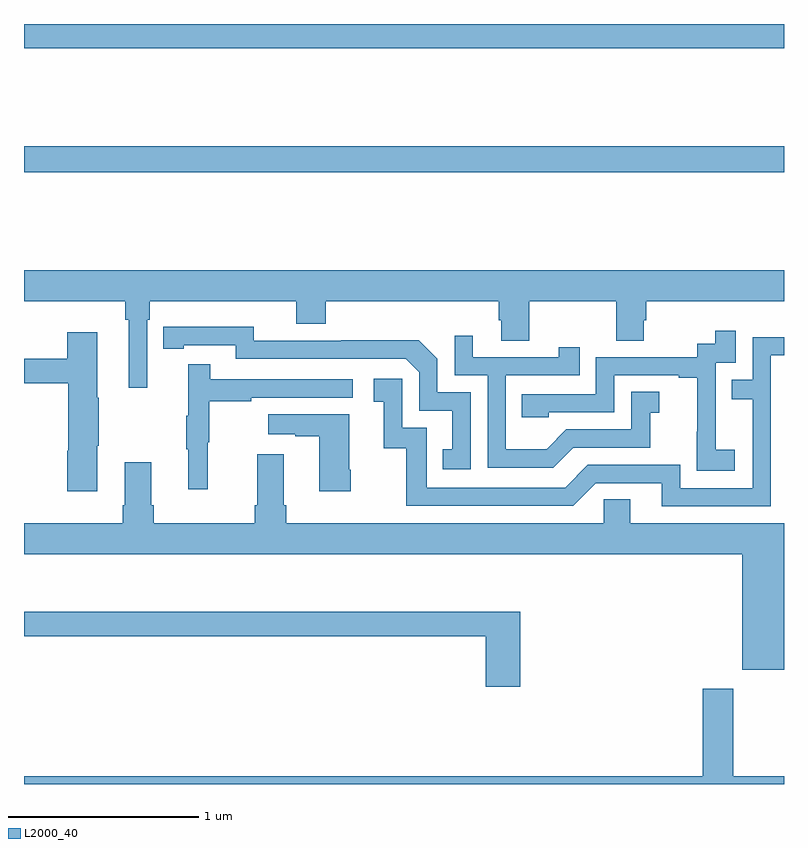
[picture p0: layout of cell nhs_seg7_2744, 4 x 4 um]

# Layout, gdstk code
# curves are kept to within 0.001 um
import gdstk
lib = gdstk.Library(unit=1e-6, precision=1e-09)
def R(c, l, rs):  # rectangles x0, y0, x1, y1
    for r in rs: c.add(gdstk.rectangle(r[:2], r[2:], *l))
def P(c, l, *ps):  # polygons
    for p in ps: c.add(gdstk.Polygon(p, *l))
L2000_40 = (2000, 40)

nhs_seg7_2744 = lib.new_cell('nhs_seg7_2744')
R(nhs_seg7_2744, L2000_40, [(287,1077.22,291,1077.356), (287,1077.872,291,1078)])
P(nhs_seg7_2744, L2000_40, [(287.649,1076.444),(287.663,1076.444),(287.663,1076.54),(288.434,1076.54),(288.434,1076.423),(288.587,1076.423),(288.587,1076.54),(289.499,1076.54),(289.499,1076.442),(289.511,1076.442),(289.511,1076.332),(289.659,1076.332),(289.659,1076.54),(290.116,1076.54),(290.116,1076.332),(290.263,1076.332),(290.263,1076.442),(290.276,1076.442),(290.276,1076.54),(291,1076.54),(291,1076.704),(287,1076.704),(287,1076.54),(287.533,1076.54),(287.533,1076.444),(287.552,1076.444),(287.552,1076.085),(287.649,1076.085)],
  [(289.35,1076.061),(289.176,1076.061),(289.176,1076.238),(289.078,1076.336),(288.67,1076.336),(288.67,1076.334),(288.21,1076.334),(288.21,1076.407),(287.734,1076.406),(287.734,1076.29),(287.842,1076.29),(287.842,1076.31),(288.114,1076.31),(288.114,1076.238),(289.008,1076.238),(289.08,1076.166),(289.08,1075.965),(289.253,1075.965),(289.253,1075.761),(289.204,1075.761),(289.204,1075.656),(289.35,1075.656)],
  [(290.74,1075.759),(290.642,1075.759),(290.642,1075.988),(290.64,1075.988),(290.64,1076.217),(290.745,1076.217),(290.745,1076.386),(290.637,1076.386),(290.637,1076.316),(290.544,1076.316),(290.544,1076.247),(290.01,1076.247),(290.01,1076.052),(289.621,1076.052),(289.621,1075.929),(289.761,1075.929),(289.761,1075.956),(290.106,1075.956),(290.106,1076.151),(290.447,1076.151),(290.447,1076.139),(290.543,1076.139),(290.543,1075.855),(290.542,1075.855),(290.542,1075.649),(290.74,1075.649)],
  [(287.386,1075.78),(287.394,1075.78),(287.394,1076.033),(287.386,1076.033),(287.386,1076.377),(287.228,1076.377),(287.228,1076.239),(287,1076.239),(287,1076.11),(287.233,1076.11),(287.233,1075.754),(287.228,1075.754),(287.228,1075.542),(287.386,1075.542)],
  [(289.891,1075.77),(290.295,1075.77),(290.295,1075.955),(290.344,1075.955),(290.344,1076.065),(290.196,1076.065),(290.196,1075.866),(289.854,1075.866),(289.75,1075.762),(289.536,1075.762),(289.536,1076.151),(289.925,1076.151),(289.925,1076.299),(289.814,1076.299),(289.814,1076.247),(289.363,1076.247),(289.363,1076.359),(289.266,1076.359),(289.266,1076.151),(289.44,1076.151),(289.44,1075.665),(289.786,1075.665)],
  [(290.931,1076.256),(291,1076.256),(291,1076.352),(290.835,1076.352),(290.835,1076.127),(290.725,1076.127),(290.725,1076.026),(290.835,1076.026),(290.835,1075.557),(290.454,1075.557),(290.454,1075.68),(289.968,1075.68),(289.848,1075.56),(289.119,1075.56),(289.119,1075.875),(288.99,1075.875),(288.99,1076.134),(288.84,1076.134),(288.84,1076.013),(288.893,1076.013),(288.893,1075.767),(289.011,1075.767),(289.011,1075.464),(289.89,1075.464),(290.01,1075.584),(290.357,1075.584),(290.357,1075.461),(290.931,1075.461)],
  [(287.966,1075.8),(287.974,1075.8),(287.974,1076.014),(288.197,1076.014),(288.197,1076.034),(288.73,1076.034),(288.73,1076.13),(287.981,1076.13),(287.981,1076.209),(287.864,1076.209),(287.864,1075.937),(287.853,1075.937),(287.853,1075.763),(287.864,1075.763),(287.864,1075.551),(287.966,1075.551)],
  [(288.72,1075.654),(288.712,1075.654),(288.712,1075.945),(288.285,1075.945),(288.285,1075.841),(288.428,1075.841),(288.428,1075.831),(288.554,1075.831),(288.554,1075.542),(288.72,1075.542)],
  [(291,1075.372),(290.191,1075.372),(290.191,1075.499),(290.052,1075.499),(290.052,1075.372),(288.38,1075.372),(288.38,1075.468),(288.367,1075.468),(288.367,1075.735),(288.227,1075.735),(288.227,1075.468),(288.215,1075.468),(288.215,1075.372),(287.684,1075.372),(287.684,1075.468),(287.671,1075.468),(287.671,1075.693),(287.531,1075.693),(287.531,1075.468),(287.519,1075.468),(287.519,1075.372),(287,1075.372),(287,1075.208),(290.78,1075.208),(290.78,1074.602),(291,1074.602)],
  [(289.613,1074.907),(287,1074.907),(287,1074.778),(289.43,1074.778),(289.43,1074.513),(289.613,1074.513)],
  [(291,1074.04),(290.733,1074.04),(290.733,1074.502),(290.573,1074.502),(290.573,1074.04),(287,1074.04),(287,1074),(291,1074)])

lib.write_gds('nhs_seg7_2744.gds')
